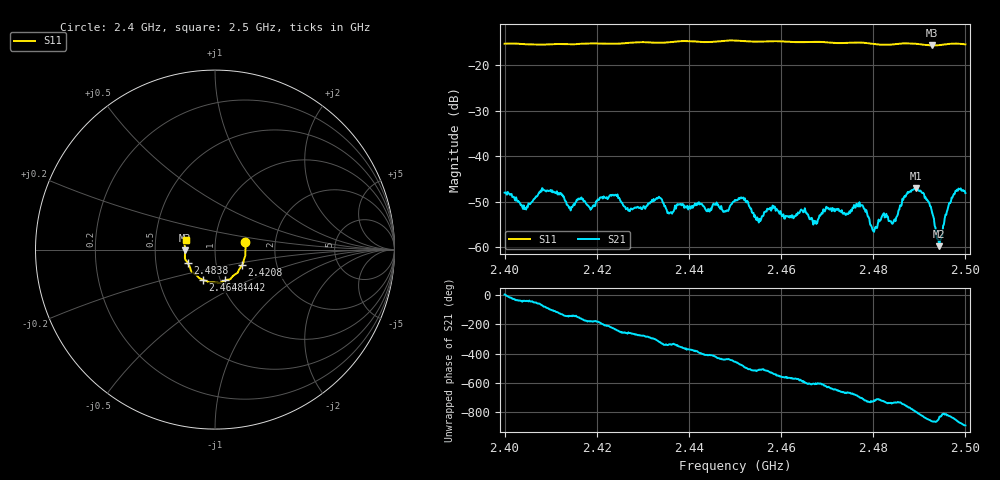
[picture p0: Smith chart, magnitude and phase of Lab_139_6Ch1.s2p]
# Hz S RI R 50
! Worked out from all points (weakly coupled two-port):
!   601 points, 2.4 GHz to 2.5 GHz, reference 50 ohm
!   highest |S21| = -46.96 dB at 2.4893 GHz (marker M1); lowest = -59.8 dB at 2.4943 GHz (marker M2)
!   lowest |S11| = -15.6 dB at 2.4928 GHz (marker M3), VSWR 1.40, Z = 35.8 - j0.356 ohm
!   |S11| at or under -10 dB: start of sweep to end of sweep
!   S12 and S22 are empty: the file has one direction only
!   S11 on the Smith chart (normalised r, x): 2.4 GHz: 1.40, +0.12; 2.4208 GHz: 1.33, -0.24; 2.4442 GHz: 1.05, -0.37; 2.4648 GHz: 0.83, -0.29; 2.4838 GHz: 0.73, -0.11; 2.5 GHz: 0.72, +0.08
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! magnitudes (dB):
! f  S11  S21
! 2.4 GHz  -15.2  -48.0
! 2.4045 GHz  -15.3  -51.4
! 2.4083 GHz  -15.4  -47.3
! 2.4167 GHz  -15.2  -49.1
! 2.4208 GHz  -15.2  -49.0
! 2.4273 GHz  -15.0  -51.5
! 2.4333 GHz  -15.0  -49.1
! 2.4358 GHz  -14.9  -52.4
! 2.4442 GHz  -14.9  -51.6
! 2.45 GHz  -14.5  -49.6
! 2.4552 GHz  -14.8  -54.6
! 2.4648 GHz  -14.9  -52.3
! 2.4667 GHz  -14.8  -53.6
! 2.4768 GHz  -15.0  -51.0
! 2.4798 GHz  -15.3  -56.1
! 2.4833 GHz  -15.5  -54.2
! 2.4838 GHz  -15.4  -54.3
! 2.4893 GHz  -15.2  -47.0
! 2.4928 GHz  -15.6  -52.6
! 2.4943 GHz  -15.5  -59.8
! 2.4975 GHz  -15.2  -48.3
! 2.5 GHz  -15.4  -48.1
